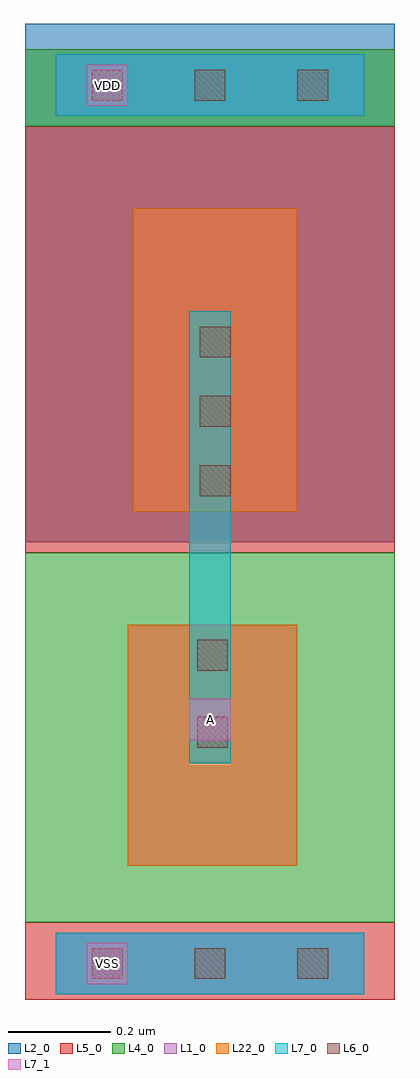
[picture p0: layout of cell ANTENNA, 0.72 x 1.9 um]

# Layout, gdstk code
import gdstk
lib = gdstk.Library(unit=1e-6, precision=5e-10)
def R(c, l, rs):  # rectangles x0, y0, x1, y1
    for r in rs: c.add(gdstk.rectangle(r[:2], r[2:], *l))
def A(c, l, x, y, w, h, nx, ny, dx, dy):  # array of equal rectangles
    R(c, l, [(x+i*dx, y+j*dy, x+i*dx+w, y+j*dy+h) for i in range(nx) for j in range(ny)])
L1_0 = (1, 0)
L2_0 = (2, 0)
L4_0 = (4, 0)
L5_0 = (5, 0)
L6_0 = (6, 0)
L7_0 = (7, 0)
L7_1 = (7, 1)
L22_0 = (22, 0)

antenna = lib.new_cell('ANTENNA')
R(antenna, L1_0, [(0,-0.06,0.6,0.06), (0.14,0.19,0.47,0.66), (0.15,0.88,0.47,1.47), (0,1.65,0.6,1.77)])
R(antenna, L2_0, [(-0.06,0.82,0.66,1.83)])
R(antenna, L4_0, [(-0.06,0.08,0.66,0.8), (-0.06,1.63,0.66,1.78)])
R(antenna, L5_0, [(-0.06,-0.07,0.66,0.08), (-0.06,0.8,0.66,1.63)])
A(antenna, L6_0, 0.07, -0.03, 0.06, 0.06, 3, 2, 0.2, 1.71)
A(antenna, L6_0, 0.28, 0.91, 0.06, 0.06, 1, 3, 0, 0.135)
R(antenna, L6_0, [(0.275,0.42,0.335,0.48), (0.275,0.57,0.335,0.63)])
R(antenna, L7_0, [(0,-0.06,0.6,0.06), (0.26,0.39,0.34,1.27), (0,1.65,0.6,1.77)])
R(antenna, L7_1, [(0.06,-0.04,0.14,0.04), (0.26,0.435,0.34,0.515), (0.06,1.67,0.14,1.75)])
R(antenna, L22_0, [(0.14,0.19,0.47,0.66), (0.15,0.88,0.47,1.47)])
antenna.add(gdstk.Label('A', (0.3,0.475), layer=7, texttype=1))
antenna.add(gdstk.Label('VSS', (0.1,0), layer=7, texttype=1))
antenna.add(gdstk.Label('VDD', (0.1,1.71), layer=7, texttype=1))

lib.write_gds('ANTENNA.gds')
